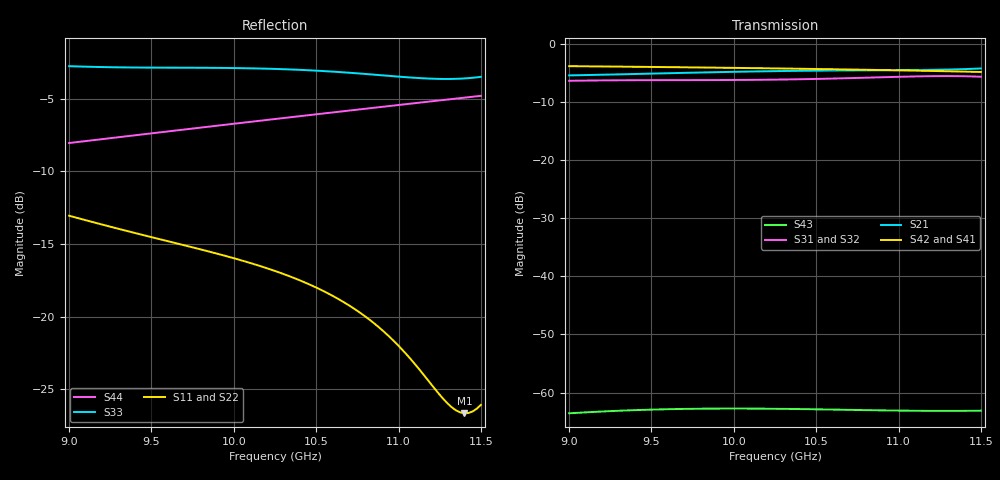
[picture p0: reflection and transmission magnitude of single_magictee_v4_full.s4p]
! Generated from PyAEDT SolutionData; AEDT ExportNetworkData workaround
# GHz S MA R 50
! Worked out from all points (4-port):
!   101 points, 9 GHz to 11.5 GHz, reference 50 ohm
!   strongest paths, dB at 9 GHz, 9.625 GHz, 10.25 GHz, 10.88 GHz, 11.5 GHz:
!     S42: -3.7, -3.9, -4.1, -4.4, -4.7
!     S41: -3.7, -3.9, -4.1, -4.4, -4.8
!     S21: -5.3, -5.0, -4.6, -4.5, -4.1
!     S31: -6.3, -6.2, -6.1, -5.7, -5.6
!     S32: -6.3, -6.2, -6.1, -5.7, -5.6
!     S43: -63.6, -62.9, -62.8, -63.1, -63.1
!   lowest |S11| = -26.7 dB at 11.4 GHz (marker M1), VSWR 1.10, Z = 52.8 - j3.9 ohm
!   |S11| at or under -10 dB: start of sweep to end of sweep
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9  0.2223 150.6  0.541 -169.8  0.4859 -75.2  0.6495 43.3
   0.541 -169.8  0.2223 150.9  0.4858 -75.3  0.6495 -136.7
   0.4859 -75.2  0.4858 -75.3  0.7266 -149.5  0.0006616 92.0
   0.6495 43.3  0.6495 -136.7  0.0006616 92.0  0.3954 -124.5
9.55  0.1846 92.4  0.5624 129.7  0.4921 -167.3  0.6383 -19.1
      0.5624 129.7  0.1843 92.8  0.4921 -167.3  0.6385 161.0
      0.4921 -167.3  0.4921 -167.3  0.7181 84.6  0.000715 -13.4
      0.6383 -19.1  0.6385 161.0  0.000715 -13.4  0.4301 177.1
10.175  0.1483 28.2  0.5864 63.3  0.496 92.1  0.623 -86.8
        0.5864 63.3  0.1475 28.7  0.4959 92.0  0.6233 93.2
        0.496 92.1  0.4959 92.0  0.7128 -52.5  0.0007255 -125.9
        0.623 -86.8  0.6233 93.2  0.0007255 -125.9  0.4727 112.8
10.75  0.1046 -29.9  0.5978 4.6  0.5143 -0.0  0.606 -147.1
       0.5978 4.6  0.1038 -29.4  0.5141 -0.1  0.6063 32.9
       0.5143 -0.0  0.5141 -0.1  0.6864 -179.9  0.0007068 139.2
       0.606 -147.1  0.6063 32.9  0.0007068 139.2  0.5149 54.6
11.1  0.06859 -57.7  0.6015 -29.3  0.5297 -58.5  0.5941 176.7
      0.6015 -29.3  0.06808 -56.8  0.5295 -58.6  0.5944 -3.2
      0.5297 -58.5  0.5295 -58.6  0.6626 94.9  0.0006963 85.8
      0.5941 176.7  0.5944 -3.2  0.0006963 85.8  0.5421 19.4
11.4  0.04649 -52.6  0.6128 -56.8  0.5318 -111.5  0.5827 146.0
      0.6128 -56.8  0.04699 -51.4  0.5315 -111.6  0.5829 -34.0
      0.5318 -111.5  0.5315 -111.6  0.6594 13.2  0.0006955 42.5
      0.5827 146.0  0.5829 -34.0  0.0006955 42.5  0.5662 -10.8
11.5  0.04969 -44.8  0.6209 -65.7  0.5264 -129.9  0.5787 135.8
      0.6209 -65.7  0.05057 -44.1  0.5262 -130.0  0.5789 -44.2
      0.5264 -129.9  0.5262 -130.0  0.6678 -15.8  0.0006971 28.6
      0.5787 135.8  0.5789 -44.2  0.0006971 28.6  0.5744 -20.9
